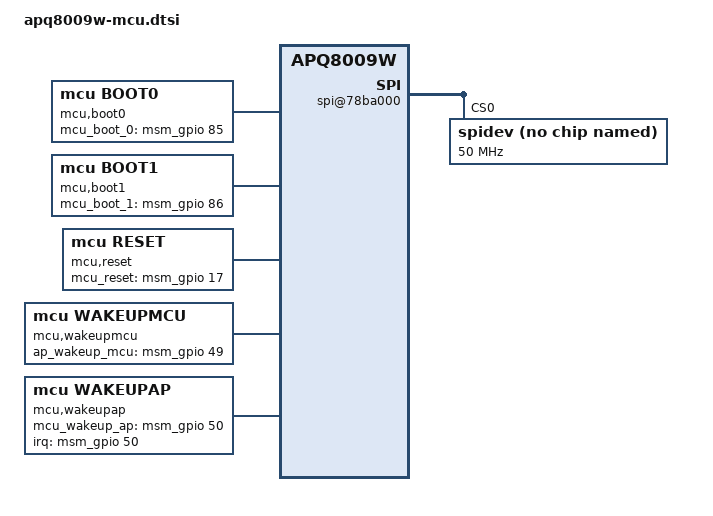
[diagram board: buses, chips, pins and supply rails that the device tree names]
/* Copyright (c) 2016,  HUAWEI TECHNOLOGIES CO., LTD.  All rights reserved.
 *
 * This program is free software; you can redistribute it and/or modify
 * it under the terms of the GNU General Public License version 2 and
 * only version 2 as published by the Free Software Foundation.
 *
 * This program is distributed in the hope that it will be useful,
 * but WITHOUT ANY WARRANTY; without even the implied warranty of
 * MERCHANTABILITY or FITNESS FOR A PARTICULAR PURPOSE.  See the
 * GNU General Public License for more details.
 */

&soc{
	spi@78ba000 {
		spidev: qcom,spidev@0 {
			compatible = "rohm,dh2228fv";
			reg = <0>;
			spi-max-frequency = <50000000>;
			spi-cpol;
			spi-cpha;
			spi-cs-high;
		};
	};

	mcu,boot0 {
		compatible = "mcu,boot0";
		mcu_boot_0 = <&msm_gpio 85 0>;
		pinctrl-names = "mcu_boot_0_active","mcu_boot_0_suspend";
		pinctrl-0 = <&mcu_boot_0_active>;
		pinctrl-1 = <&mcu_boot_0_suspend>;
	};

	mcu,boot1 {
		compatible = "mcu,boot1";
		mcu_boot_1 = <&msm_gpio 86 0>;
		pinctrl-names = "mcu_boot_1_active","mcu_boot_1_suspend";
		pinctrl-0 = <&mcu_boot_1_active>;
		pinctrl-1 = <&mcu_boot_1_suspend>;
	};

	mcu,reset {
		compatible = "mcu,reset";
		mcu_reset = <&msm_gpio 17 0>;
		pinctrl-names = "mcu_reset_active","mcu_reset_sleep";
		pinctrl-0 = <&mcu_reset_active>;
		pinctrl-1 = <&mcu_reset_sleep>;
	};

	mcu,wakeupmcu {
		compatible = "mcu,wakeupmcu";
		ap_wakeup_mcu = <&msm_gpio 49 0>;
		pinctrl-names = "ap_wakeup_mcu_active","ap_wakeup_mcu_suspend";
		pinctrl-0 = <&ap_wakeup_mcu_active>;
		pinctrl-1 = <&ap_wakeup_mcu_suspend>;
	};

	mcu,wakeupap {
		compatible = "mcu,wakeupap";
		mcu_wakeup_ap = <&msm_gpio 50 0>;
		interrupt-parent = <&msm_gpio>;
		interrupts = <50 0>;
		interrupt-names = "mcu_host_wake";
		pinctrl-names = "mcu_wakeup_ap_active","mcu_wakeup_ap_suspend";
		pinctrl-0 = <&mcu_wakeup_ap_active>;
		pinctrl-1 = <&mcu_wakeup_ap_suspend>;
	};
};
